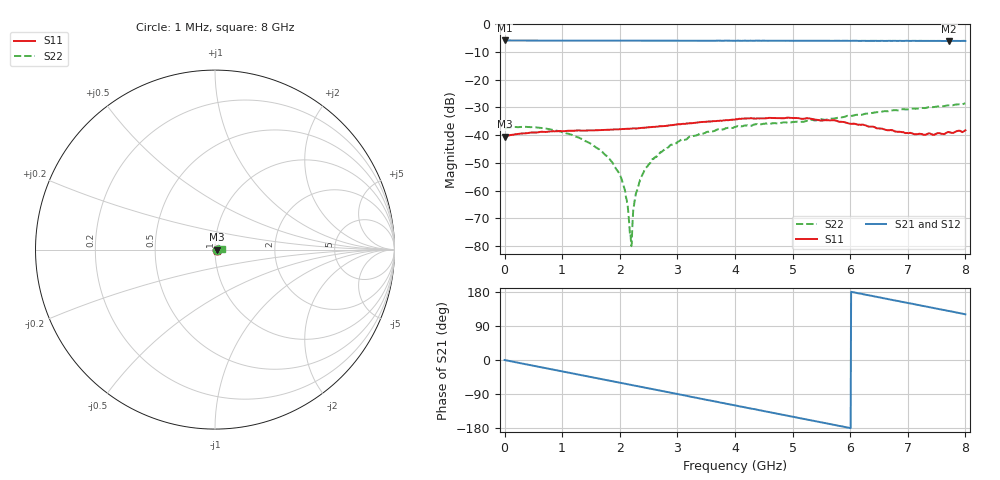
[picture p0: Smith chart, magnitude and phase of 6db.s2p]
# Hz S DB R 50
! CMT, CMT804U, 21380002, 24.2.2/4
! Date: 25/11/2025 13:46:19
! Data: Format (Calibration Info)
! Freq	S11:dB/Ang(F2)	S21:dB/Ang(F2)	S12:dB/Ang(F2)	S22:dB/Ang(F2)
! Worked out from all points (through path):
!   1001 points, 1 MHz to 8 GHz, reference 50 ohm
!   highest |S21| = -5.88 dB at 1 MHz (marker M1); lowest = -6.1 dB at 7.72 GHz (marker M2)
!   group delay of S21, straight-line fit = 83 ps
!   lowest |S11| = -40.5 dB at 1 MHz (marker M3), VSWR 1.02, Z = 51 - j0.0047 ohm
!   |S11| at or under -10 dB: start of sweep to end of sweep
!   |S22| runs from -80.0 to -28.5 dB; largest |S21 - S12| = 0.0063
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1000000  -40.51 -0.3  -5.88 -0.0  -5.87 -0.1  -37.57 -0.3
6.88914e8  -38.83 -11.3  -5.92 -20.8  -5.92 -20.8  -37.50 -13.6
1.336833e9  -38.37 -23.7  -5.93 -40.1  -5.93 -40.2  -41.32 -32.2
1.672791e9  -38.20 -29.0  -5.94 -50.2  -5.94 -50.2  -45.60 -43.1
1.84077e9  -38.00 -31.1  -5.95 -55.1  -5.95 -55.2  -49.01 -48.3
1.984752e9  -37.89 -32.0  -5.94 -59.5  -5.94 -59.5  -53.54 -54.1
2.096738e9  -37.77 -32.3  -5.93 -62.8  -5.93 -62.8  -60.55 -57.5
2.120735e9  -37.76 -32.5  -5.94 -63.5  -5.94 -63.6  -63.21 -62.0
2.168729e9  -37.71 -33.3  -5.95 -64.8  -5.95 -64.9  -73.62 -44.1
2.184727e9  -37.64 -33.0  -5.94 -65.3  -5.94 -65.4  -75.11 -17.2
2.216723e9  -37.58 -33.0  -5.94 -66.4  -5.94 -66.4  -73.57 107.9
2.280715e9  -37.61 -33.6  -5.95 -68.2  -5.95 -68.2  -60.93 111.5
2.368704e9  -37.38 -34.6  -5.95 -70.9  -5.95 -70.9  -55.31 106.0
2.464692e9  -37.23 -34.8  -5.95 -73.8  -5.95 -73.8  -51.56 107.1
2.672666e9  -36.84 -35.5  -5.95 -80.1  -5.95 -80.1  -46.82 98.3
3.224597e9  -35.69 -37.4  -5.97 -96.7  -5.97 -96.6  -40.53 80.8
4.0005e9  -34.33 -44.6  -5.99 -119.6  -5.98 -119.5  -37.02 61.9
5.336333e9  -34.15 -58.8  -6.00 -159.7  -5.98 -159.6  -34.48 60.5
6.672166e9  -38.21 -61.4  -6.02 160.2  -6.00 160.5  -31.33 56.5
7.288089e9  -39.85 -43.6  -6.03 142.0  -5.99 142.3  -30.24 38.9
7.720035e9  -38.87 -29.9  -6.07 129.2  -6.00 129.1  -29.25 21.1
8e9  -38.22 -27.6  -6.05 120.6  -5.95 120.8  -28.48 6.7
